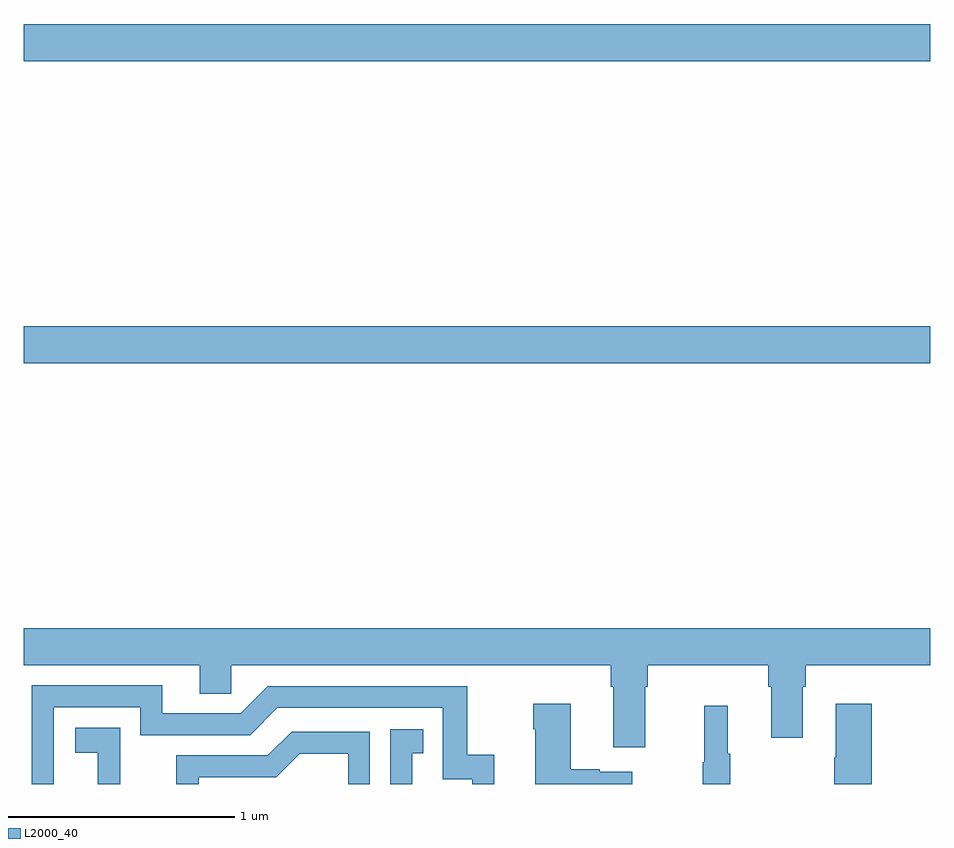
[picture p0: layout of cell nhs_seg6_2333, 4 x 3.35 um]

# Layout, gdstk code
import gdstk
lib = gdstk.Library(unit=1e-6, precision=1e-09)
def R(c, l, rs):  # rectangles x0, y0, x1, y1
    for r in rs: c.add(gdstk.rectangle(r[:2], r[2:], *l))
def P(c, l, *ps):  # polygons
    for p in ps: c.add(gdstk.Polygon(p, *l))
L2000_40 = (2000, 40)

nhs_seg6_2333 = lib.new_cell('nhs_seg6_2333')
R(nhs_seg6_2333, L2000_40, [(251,927.356,255,927.52), (251,928.688,255,928.852)])
P(nhs_seg6_2333, L2000_40, [(253.741,925.928),(253.754,925.928),(253.754,926.024),(254.285,926.024),(254.285,925.928),(254.297,925.928),(254.297,925.704),(254.437,925.704),(254.437,925.928),(254.45,925.928),(254.45,926.024),(255,926.024),(255,926.188),(251,926.188),(251,926.024),(251.777,926.024),(251.777,925.897),(251.916,925.897),(251.916,926.024),(253.589,926.024),(253.589,925.928),(253.601,925.928),(253.601,925.662),(253.741,925.662)],
  [(251.133,925.839),(251.514,925.839),(251.514,925.716),(252,925.716),(252.12,925.836),(252.849,925.836),(252.849,925.521),(252.978,925.521),(252.978,925.5),(253.076,925.5),(253.076,925.63),(252.958,925.63),(252.958,925.932),(252.078,925.932),(251.958,925.812),(251.611,925.812),(251.611,925.935),(251.037,925.935),(251.037,925.5),(251.133,925.5)],
  [(253.684,925.555),(253.541,925.555),(253.541,925.565),(253.414,925.565),(253.414,925.855),(253.249,925.855),(253.249,925.742),(253.256,925.742),(253.256,925.5),(253.684,925.5)],
  [(254.741,925.855),(254.582,925.855),(254.582,925.616),(254.575,925.616),(254.575,925.5),(254.741,925.5)],
  [(254.116,925.633),(254.105,925.633),(254.105,925.846),(254.002,925.846),(254.002,925.596),(253.995,925.596),(253.995,925.5),(254.116,925.5)],
  [(251.426,925.541),(251.427,925.541),(251.427,925.747),(251.229,925.747),(251.229,925.637),(251.327,925.637),(251.327,925.5),(251.426,925.5)],
  [(252.715,925.635),(252.764,925.635),(252.764,925.741),(252.618,925.741),(252.618,925.5),(252.715,925.5)],
  [(251.772,925.53),(252.114,925.53),(252.218,925.634),(252.432,925.634),(252.432,925.5),(252.528,925.5),(252.528,925.731),(252.182,925.731),(252.077,925.626),(251.674,925.626),(251.674,925.5),(251.772,925.5)])

lib.write_gds('nhs_seg6_2333.gds')
